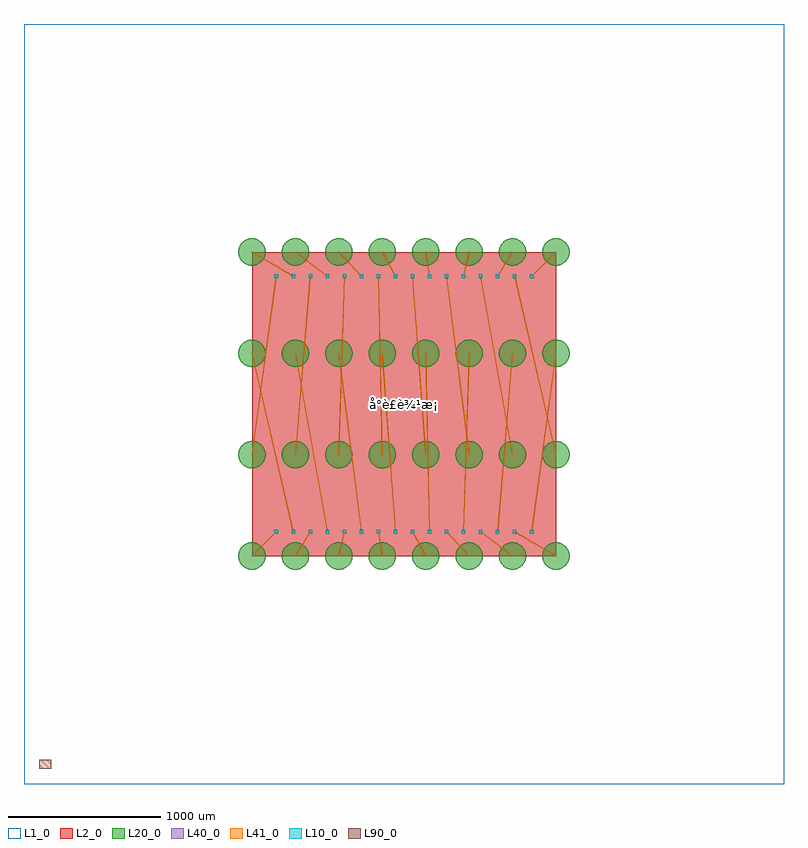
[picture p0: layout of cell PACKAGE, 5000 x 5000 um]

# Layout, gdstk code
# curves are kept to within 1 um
import gdstk
lib = gdstk.Library(unit=1e-6, precision=1e-09)
def R(c, l, rs):  # rectangles x0, y0, x1, y1
    for r in rs: c.add(gdstk.rectangle(r[:2], r[2:], *l))
def A(c, l, x, y, w, h, nx, ny, dx, dy):  # array of equal rectangles
    R(c, l, [(x+i*dx, y+j*dy, x+i*dx+w, y+j*dy+h) for i in range(nx) for j in range(ny)])
def P(c, l, *ps):  # polygons
    for p in ps: c.add(gdstk.Polygon(p, *l))
L1_0 = (1, 0)
L2_0 = (2, 0)
L10_0 = (10, 0)
L20_0 = (20, 0)
L40_0 = (40, 0)
L41_0 = (41, 0)
L90_0 = (90, 0)

die = lib.new_cell('DIE')
R(die, L2_0, [(-1000,-1000,1000,1000)])
A(die, L10_0, -852, -852, 24, 24, 16, 2, 112, 1680)
P(die, L40_0, [(-838.232,-841.768),(-841.768,-838.232),(-1001.768,-998.232),(-998.232,-1001.768)],
  [(-837.523,839.662),(-842.477,840.338),(-1002.477,-332.996),(-997.523,-333.671)],
  [(-730.435,-840.565),(-725.565,-839.435),(-997.565,333.898),(-1002.435,332.769)],
  [(-729.268,837.845),(-726.732,842.155),(-998.732,1002.155),(-1001.268,997.845)],
  [(-613.87,-841.309),(-618.13,-838.691),(-716.416,-998.691),(-712.156,-1001.309)],
  [(-613.509,839.791),(-618.491,840.209),(-716.777,-333.125),(-711.794,-333.542)],
  [(-506.461,-840.441),(-501.539,-839.559),(-711.825,333.774),(-716.747,332.892)],
  [(-505.514,838.01),(-502.486,841.99),(-712.772,1001.99),(-715.8,998.01)],
  [(-389.563,-840.557),(-394.437,-839.443),(-431.009,-999.443),(-426.134,-1000.557)],
  [(-389.501,839.922),(-394.499,840.078),(-431.07,-333.255),(-426.073,-333.411)],
  [(-282.48,-840.314),(-277.52,-839.686),(-426.091,333.647),(-431.052,333.019)],
  [(-281.832,838.299),(-278.168,841.701),(-426.739,1001.701),(-430.403,998.299)],
  [(-165.53,-839.612),(-170.47,-840.388),(-145.327,-1000.388),(-140.387,-999.612)],
  [(-165.501,840.054),(-170.499,839.946),(-145.357,-333.387),(-140.358,-333.28)],
  [(-58.493,-840.185),(-53.507,-839.815),(-140.364,333.518),(-145.35,333.149)],
  [(-58.197,838.807),(-53.803,841.193),(-140.66,1001.193),(-145.054,998.807)],
  [(58.197,-838.807),(53.803,-841.193),(140.66,-1001.193),(145.054,-998.807)],
  [(58.493,840.185),(53.507,839.815),(140.364,-333.518),(145.35,-333.149)],
  [(165.501,-840.054),(170.499,-839.946),(145.357,333.387),(140.358,333.28)],
  [(165.53,839.612),(170.47,840.388),(145.327,1000.388),(140.387,999.612)],
  [(281.832,-838.299),(278.168,-841.701),(426.739,-1001.701),(430.403,-998.299)],
  [(282.48,840.314),(277.52,839.686),(426.091,-333.647),(431.052,-333.019)],
  [(389.501,-839.922),(394.499,-840.078),(431.07,333.255),(426.073,333.411)],
  [(389.563,840.557),(394.437,839.443),(431.009,999.443),(426.134,1000.557)],
  [(505.514,-838.01),(502.486,-841.99),(712.772,-1001.99),(715.8,-998.01)],
  [(506.461,840.441),(501.539,839.559),(711.825,-333.774),(716.747,-332.892)],
  [(613.509,-839.791),(618.491,-840.209),(716.777,333.125),(711.794,333.542)],
  [(613.87,841.309),(618.13,838.691),(716.416,998.691),(712.156,1001.309)],
  [(729.268,-837.845),(726.732,-842.155),(998.732,-1002.155),(1001.268,-997.845)],
  [(730.435,840.565),(725.565,839.435),(997.565,-333.898),(1002.435,-332.769)],
  [(837.523,-839.662),(842.477,-840.338),(1002.477,332.996),(997.523,333.671)],
  [(838.232,841.768),(841.768,838.232),(1001.768,998.232),(998.232,1001.768)])
P(die, L41_0, [(-838.232,-841.768),(-841.768,-838.232),(-1001.768,-998.232),(-998.232,-1001.768)],
  [(-837.523,839.662),(-842.477,840.338),(-1002.477,-332.996),(-997.523,-333.671)],
  [(-730.435,-840.565),(-725.565,-839.435),(-997.565,333.898),(-1002.435,332.769)],
  [(-729.268,837.845),(-726.732,842.155),(-998.732,1002.155),(-1001.268,997.845)],
  [(-613.87,-841.309),(-618.13,-838.691),(-716.416,-998.691),(-712.156,-1001.309)],
  [(-613.509,839.791),(-618.491,840.209),(-716.777,-333.125),(-711.794,-333.542)],
  [(-506.461,-840.441),(-501.539,-839.559),(-711.825,333.774),(-716.747,332.892)],
  [(-505.514,838.01),(-502.486,841.99),(-712.772,1001.99),(-715.8,998.01)],
  [(-389.563,-840.557),(-394.437,-839.443),(-431.009,-999.443),(-426.134,-1000.557)],
  [(-389.501,839.922),(-394.499,840.078),(-431.07,-333.255),(-426.073,-333.411)],
  [(-282.48,-840.314),(-277.52,-839.686),(-426.091,333.647),(-431.052,333.019)],
  [(-281.832,838.299),(-278.168,841.701),(-426.739,1001.701),(-430.403,998.299)],
  [(-165.53,-839.612),(-170.47,-840.388),(-145.327,-1000.388),(-140.387,-999.612)],
  [(-165.501,840.054),(-170.499,839.946),(-145.357,-333.387),(-140.358,-333.28)],
  [(-58.493,-840.185),(-53.507,-839.815),(-140.364,333.518),(-145.35,333.149)],
  [(-58.197,838.807),(-53.803,841.193),(-140.66,1001.193),(-145.054,998.807)],
  [(58.197,-838.807),(53.803,-841.193),(140.66,-1001.193),(145.054,-998.807)],
  [(58.493,840.185),(53.507,839.815),(140.364,-333.518),(145.35,-333.149)],
  [(165.501,-840.054),(170.499,-839.946),(145.357,333.387),(140.358,333.28)],
  [(165.53,839.612),(170.47,840.388),(145.327,1000.388),(140.387,999.612)],
  [(281.832,-838.299),(278.168,-841.701),(426.739,-1001.701),(430.403,-998.299)],
  [(282.48,840.314),(277.52,839.686),(426.091,-333.647),(431.052,-333.019)],
  [(389.501,-839.922),(394.499,-840.078),(431.07,333.255),(426.073,333.411)],
  [(389.563,840.557),(394.437,839.443),(431.009,999.443),(426.134,1000.557)],
  [(505.514,-838.01),(502.486,-841.99),(712.772,-1001.99),(715.8,-998.01)],
  [(506.461,840.441),(501.539,839.559),(711.825,-333.774),(716.747,-332.892)],
  [(613.509,-839.791),(618.491,-840.209),(716.777,333.125),(711.794,333.542)],
  [(613.87,841.309),(618.13,838.691),(716.416,998.691),(712.156,1001.309)],
  [(729.268,-837.845),(726.732,-842.155),(998.732,-1002.155),(1001.268,-997.845)],
  [(730.435,840.565),(725.565,839.435),(997.565,-333.898),(1002.435,-332.769)],
  [(837.523,-839.662),(842.477,-840.338),(1002.477,332.996),(997.523,333.671)],
  [(838.232,841.768),(841.768,838.232),(1001.768,998.232),(998.232,1001.768)])

package = lib.new_cell('PACKAGE')
R(package, L1_0, [(-2500,-2500,2500,2500)])
P(package, L20_0, [(-910,-1000),(-911.766,-982.259),(-916.994,-965.215),(-925.479,-949.536),(-936.889,-935.836),(-950.775,-924.655),(-966.592,-916.43),(-983.721,-911.485),(-1001.488,-910.012),(-1019.197,-912.071),(-1036.153,-917.58),(-1051.69,-926.324),(-1065.198,-937.958),(-1072.812,-947.099),(-1081.811,-962.49),(-1087.599,-979.352),(-1089.951,-997.024),(-1088.773,-1014.814),(-1084.111,-1032.021),(-1076.149,-1047.973),(-1065.198,-1062.042),(-1051.69,-1073.676),(-1036.153,-1082.42),(-1019.197,-1087.929),(-1001.488,-1089.988),(-983.721,-1088.515),(-966.592,-1083.57),(-950.775,-1075.345),(-936.889,-1064.164),(-925.479,-1050.464),(-916.994,-1034.785),(-911.766,-1017.741)],
  [(-910,-333.333),(-911.766,-315.593),(-916.994,-298.548),(-925.479,-282.869),(-936.889,-269.17),(-950.775,-257.988),(-966.592,-249.763),(-983.721,-244.818),(-1001.488,-243.346),(-1019.197,-245.405),(-1036.153,-250.914),(-1051.69,-259.657),(-1065.198,-271.292),(-1076.149,-285.36),(-1084.111,-301.312),(-1088.773,-318.52),(-1089.951,-336.309),(-1087.599,-353.981),(-1081.811,-370.844),(-1072.812,-386.234),(-1060.955,-399.548),(-1046.707,-410.265),(-1030.626,-417.962),(-1013.344,-422.339),(-995.537,-423.223),(-977.906,-420.579),(-961.142,-414.513),(-945.903,-405.26),(-932.786,-393.186),(-922.307,-378.762),(-914.876,-362.556),(-910.786,-345.204)],
  [(-910,333.333),(-910.786,345.204),(-914.876,362.556),(-922.307,378.762),(-932.786,393.186),(-945.903,405.26),(-961.142,414.513),(-977.906,420.579),(-995.537,423.223),(-1013.344,422.339),(-1030.626,417.962),(-1046.707,410.265),(-1060.955,399.548),(-1072.812,386.234),(-1081.811,370.844),(-1087.599,353.981),(-1089.951,336.309),(-1088.773,318.52),(-1084.111,301.312),(-1076.149,285.36),(-1065.198,271.292),(-1051.69,259.657),(-1036.153,250.914),(-1019.197,245.405),(-1001.488,243.346),(-983.721,244.818),(-966.592,249.763),(-950.775,257.988),(-936.889,269.17),(-925.479,282.869),(-916.994,298.548),(-911.766,315.593)],
  [(-910,1000),(-911.766,1017.741),(-916.994,1034.785),(-925.479,1050.464),(-936.889,1064.164),(-950.775,1075.345),(-966.592,1083.57),(-983.721,1088.515),(-1001.488,1089.988),(-1019.197,1087.929),(-1036.153,1082.42),(-1051.69,1073.676),(-1065.198,1062.042),(-1072.812,1052.901),(-1081.811,1037.51),(-1087.599,1020.648),(-1089.951,1002.976),(-1088.773,985.186),(-1084.111,967.979),(-1076.149,952.027),(-1065.198,937.958),(-1051.69,926.324),(-1036.153,917.58),(-1019.197,912.071),(-1001.488,910.012),(-983.721,911.485),(-966.592,916.43),(-950.775,924.655),(-936.889,935.836),(-925.479,949.536),(-916.994,965.215),(-911.766,982.259)],
  [(-624.286,-1000),(-626.052,-982.259),(-631.28,-965.215),(-639.765,-949.536),(-651.174,-935.836),(-665.06,-924.655),(-680.878,-916.43),(-698.006,-911.485),(-715.774,-910.012),(-733.483,-912.071),(-750.438,-917.58),(-765.975,-926.324),(-779.484,-937.958),(-790.434,-952.027),(-798.397,-967.979),(-801.885,-979.352),(-804.237,-997.024),(-803.058,-1014.814),(-798.397,-1032.021),(-790.434,-1047.973),(-779.484,-1062.042),(-765.975,-1073.676),(-750.438,-1082.42),(-733.483,-1087.929),(-715.774,-1089.988),(-698.006,-1088.515),(-680.878,-1083.57),(-665.06,-1075.345),(-651.174,-1064.164),(-639.765,-1050.464),(-631.28,-1034.785),(-626.052,-1017.741)],
  [(-624.286,-333.333),(-626.052,-315.593),(-631.28,-298.548),(-639.765,-282.869),(-651.174,-269.17),(-665.06,-257.988),(-680.878,-249.763),(-698.006,-244.818),(-715.774,-243.346),(-733.483,-245.405),(-750.438,-250.914),(-765.975,-259.657),(-779.484,-271.292),(-790.434,-285.36),(-798.397,-301.312),(-803.058,-318.52),(-804.237,-336.309),(-801.885,-353.981),(-796.096,-370.844),(-787.097,-386.234),(-775.241,-399.548),(-760.993,-410.265),(-744.912,-417.962),(-727.629,-422.339),(-709.823,-423.223),(-692.192,-420.579),(-675.428,-414.513),(-660.188,-405.26),(-651.174,-397.497),(-639.765,-383.798),(-631.28,-368.118),(-626.052,-351.074)],
  [(-624.286,333.333),(-626.052,351.074),(-631.28,368.118),(-639.765,383.798),(-651.174,397.497),(-660.188,405.26),(-675.428,414.513),(-692.192,420.579),(-709.823,423.223),(-727.629,422.339),(-744.912,417.962),(-760.993,410.265),(-775.241,399.548),(-787.097,386.234),(-796.096,370.844),(-801.885,353.981),(-804.237,336.309),(-803.058,318.52),(-798.397,301.312),(-790.434,285.36),(-779.484,271.292),(-765.975,259.657),(-750.438,250.914),(-733.483,245.405),(-715.774,243.346),(-698.006,244.818),(-680.878,249.763),(-665.06,257.988),(-651.174,269.17),(-639.765,282.869),(-631.28,298.548),(-626.052,315.593)],
  [(-624.286,1000),(-626.052,1017.741),(-631.28,1034.785),(-639.765,1050.464),(-651.174,1064.164),(-665.06,1075.345),(-680.878,1083.57),(-698.006,1088.515),(-715.774,1089.988),(-733.483,1087.929),(-750.438,1082.42),(-765.975,1073.676),(-779.484,1062.042),(-790.434,1047.973),(-798.397,1032.021),(-801.885,1020.648),(-804.237,1002.976),(-803.058,985.186),(-798.397,967.979),(-790.434,952.027),(-779.484,937.958),(-765.975,926.324),(-750.438,917.58),(-733.483,912.071),(-715.774,910.012),(-698.006,911.485),(-680.878,916.43),(-665.06,924.655),(-651.174,935.836),(-639.765,949.536),(-631.28,965.215),(-626.052,982.259)],
  [(-338.571,-1000),(-340.337,-982.259),(-345.565,-965.215),(-354.051,-949.536),(-365.46,-935.836),(-379.346,-924.655),(-395.164,-916.43),(-412.292,-911.485),(-430.059,-910.012),(-447.768,-912.071),(-464.724,-917.58),(-480.261,-926.324),(-493.77,-937.958),(-501.383,-947.099),(-510.382,-962.49),(-516.171,-979.352),(-518.522,-997.024),(-517.344,-1014.814),(-512.682,-1032.021),(-504.72,-1047.973),(-493.77,-1062.042),(-480.261,-1073.676),(-464.724,-1082.42),(-447.768,-1087.929),(-430.059,-1089.988),(-412.292,-1088.515),(-395.164,-1083.57),(-379.346,-1075.345),(-365.46,-1064.164),(-354.051,-1050.464),(-345.565,-1034.785),(-340.337,-1017.741)],
  [(-338.571,-333.333),(-340.337,-315.593),(-345.565,-298.548),(-354.051,-282.869),(-365.46,-269.17),(-379.346,-257.988),(-395.164,-249.763),(-412.292,-244.818),(-430.059,-243.346),(-447.768,-245.405),(-464.724,-250.914),(-480.261,-259.657),(-493.77,-271.292),(-504.72,-285.36),(-512.682,-301.312),(-517.344,-318.52),(-518.522,-336.309),(-516.171,-353.981),(-510.382,-370.844),(-501.383,-386.234),(-489.527,-399.548),(-475.279,-410.265),(-459.198,-417.962),(-441.915,-422.339),(-424.109,-423.223),(-406.478,-420.579),(-389.714,-414.513),(-374.474,-405.26),(-361.357,-393.186),(-350.878,-378.762),(-345.565,-368.118),(-340.337,-351.074)],
  [(-338.571,333.333),(-340.337,351.074),(-345.565,368.118),(-350.878,378.762),(-361.357,393.186),(-374.474,405.26),(-389.714,414.513),(-406.478,420.579),(-424.109,423.223),(-441.915,422.339),(-459.198,417.962),(-475.279,410.265),(-489.527,399.548),(-501.383,386.234),(-510.382,370.844),(-516.171,353.981),(-518.522,336.309),(-517.344,318.52),(-512.682,301.312),(-504.72,285.36),(-493.77,271.292),(-480.261,259.657),(-464.724,250.914),(-447.768,245.405),(-430.059,243.346),(-412.292,244.818),(-395.164,249.763),(-379.346,257.988),(-365.46,269.17),(-354.051,282.869),(-345.565,298.548),(-340.337,315.593)],
  [(-338.571,1000),(-340.337,1017.741),(-345.565,1034.785),(-354.051,1050.464),(-365.46,1064.164),(-379.346,1075.345),(-395.164,1083.57),(-412.292,1088.515),(-430.059,1089.988),(-447.768,1087.929),(-464.724,1082.42),(-480.261,1073.676),(-493.77,1062.042),(-501.383,1052.901),(-510.382,1037.51),(-516.171,1020.648),(-518.522,1002.976),(-517.344,985.186),(-512.682,967.979),(-504.72,952.027),(-493.77,937.958),(-480.261,926.324),(-464.724,917.58),(-447.768,912.071),(-430.059,910.012),(-412.292,911.485),(-395.164,916.43),(-379.346,924.655),(-365.46,935.836),(-354.051,949.536),(-345.565,965.215),(-340.337,982.259)],
  [(-52.857,-1000),(-54.623,-982.259),(-59.851,-965.215),(-68.336,-949.536),(-79.746,-935.836),(-93.632,-924.655),(-109.449,-916.43),(-126.578,-911.485),(-144.345,-910.012),(-162.054,-912.071),(-179.01,-917.58),(-194.547,-926.324),(-208.055,-937.958),(-215.669,-947.099),(-224.668,-962.49),(-230.457,-979.352),(-232.808,-997.024),(-231.63,-1014.814),(-226.968,-1032.021),(-219.006,-1047.973),(-208.055,-1062.042),(-194.547,-1073.676),(-179.01,-1082.42),(-162.054,-1087.929),(-144.345,-1089.988),(-126.578,-1088.515),(-109.449,-1083.57),(-93.632,-1075.345),(-79.746,-1064.164),(-68.336,-1050.464),(-59.851,-1034.785),(-54.623,-1017.741)],
  [(-52.857,-333.333),(-54.623,-315.593),(-59.851,-298.548),(-68.336,-282.869),(-79.746,-269.17),(-93.632,-257.988),(-109.449,-249.763),(-126.578,-244.818),(-144.345,-243.346),(-162.054,-245.405),(-179.01,-250.914),(-194.547,-259.657),(-208.055,-271.292),(-219.006,-285.36),(-226.968,-301.312),(-231.63,-318.52),(-232.808,-336.309),(-230.457,-353.981),(-224.668,-370.844),(-215.669,-386.234),(-203.812,-399.548),(-189.564,-410.265),(-173.484,-417.962),(-156.201,-422.339),(-138.395,-423.223),(-120.763,-420.579),(-103.999,-414.513),(-88.76,-405.26),(-75.643,-393.186),(-68.336,-383.798),(-59.851,-368.118),(-54.623,-351.074)],
  [(-52.857,333.333),(-54.623,351.074),(-59.851,368.118),(-68.336,383.798),(-75.643,393.186),(-88.76,405.26),(-103.999,414.513),(-120.763,420.579),(-138.395,423.223),(-156.201,422.339),(-173.484,417.962),(-189.564,410.265),(-203.812,399.548),(-215.669,386.234),(-224.668,370.844),(-230.457,353.981),(-232.808,336.309),(-231.63,318.52),(-226.968,301.312),(-219.006,285.36),(-208.055,271.292),(-194.547,259.657),(-179.01,250.914),(-162.054,245.405),(-144.345,243.346),(-126.578,244.818),(-109.449,249.763),(-93.632,257.988),(-79.746,269.17),(-68.336,282.869),(-59.851,298.548),(-54.623,315.593)],
  [(-52.857,1000),(-54.623,1017.741),(-59.851,1034.785),(-68.336,1050.464),(-79.746,1064.164),(-93.632,1075.345),(-109.449,1083.57),(-126.578,1088.515),(-144.345,1089.988),(-162.054,1087.929),(-179.01,1082.42),(-194.547,1073.676),(-208.055,1062.042),(-215.669,1052.901),(-224.668,1037.51),(-230.457,1020.648),(-232.808,1002.976),(-231.63,985.186),(-226.968,967.979),(-219.006,952.027),(-208.055,937.958),(-194.547,926.324),(-179.01,917.58),(-162.054,912.071),(-144.345,910.012),(-126.578,911.485),(-109.449,916.43),(-93.632,924.655),(-79.746,935.836),(-68.336,949.536),(-59.851,965.215),(-54.623,982.259)],
  [(232.857,-1000),(231.091,-982.259),(225.863,-965.215),(217.378,-949.536),(205.968,-935.836),(192.082,-924.655),(176.265,-916.43),(159.136,-911.485),(141.369,-910.012),(123.66,-912.071),(106.705,-917.58),(91.168,-926.324),(77.659,-937.958),(66.709,-952.027),(58.746,-967.979),(55.258,-979.352),(52.906,-997.024),(54.085,-1014.814),(58.746,-1032.021),(66.709,-1047.973),(77.659,-1062.042),(91.168,-1073.676),(106.705,-1082.42),(123.66,-1087.929),(141.369,-1089.988),(159.136,-1088.515),(176.265,-1083.57),(192.082,-1075.345),(205.968,-1064.164),(217.378,-1050.464),(225.863,-1034.785),(231.091,-1017.741)],
  [(232.857,-333.333),(231.091,-315.593),(225.863,-298.548),(217.378,-282.869),(205.968,-269.17),(192.082,-257.988),(176.265,-249.763),(159.136,-244.818),(141.369,-243.346),(123.66,-245.405),(106.705,-250.914),(91.168,-259.657),(77.659,-271.292),(66.709,-285.36),(58.746,-301.312),(54.085,-318.52),(52.906,-336.309),(55.258,-353.981),(61.047,-370.844),(70.046,-386.234),(81.902,-399.548),(96.15,-410.265),(112.231,-417.962),(129.513,-422.339),(147.32,-423.223),(164.951,-420.579),(181.715,-414.513),(196.954,-405.26),(210.071,-393.186),(220.55,-378.762),(227.981,-362.556),(232.071,-345.204)],
  [(232.857,333.333),(232.071,345.204),(227.981,362.556),(220.55,378.762),(210.071,393.186),(196.954,405.26),(181.715,414.513),(164.951,420.579),(147.32,423.223),(129.513,422.339),(112.231,417.962),(96.15,410.265),(81.902,399.548),(70.046,386.234),(61.047,370.844),(55.258,353.981),(52.906,336.309),(54.085,318.52),(58.746,301.312),(66.709,285.36),(77.659,271.292),(91.168,259.657),(106.705,250.914),(123.66,245.405),(141.369,243.346),(159.136,244.818),(176.265,249.763),(192.082,257.988),(205.968,269.17),(217.378,282.869),(225.863,298.548),(231.091,315.593)],
  [(232.857,1000),(231.091,1017.741),(225.863,1034.785),(217.378,1050.464),(205.968,1064.164),(192.082,1075.345),(176.265,1083.57),(159.136,1088.515),(141.369,1089.988),(123.66,1087.929),(106.705,1082.42),(91.168,1073.676),(77.659,1062.042),(66.709,1047.973),(58.746,1032.021),(55.258,1020.648),(52.906,1002.976),(54.085,985.186),(58.746,967.979),(66.709,952.027),(77.659,937.958),(91.168,926.324),(106.705,917.58),(123.66,912.071),(141.369,910.012),(159.136,911.485),(176.265,916.43),(192.082,924.655),(205.968,935.836),(217.378,949.536),(225.863,965.215),(231.091,982.259)],
  [(518.571,-1000),(516.806,-982.259),(511.578,-965.215),(503.092,-949.536),(491.683,-935.836),(477.797,-924.655),(461.979,-916.43),(444.851,-911.485),(427.083,-910.012),(409.374,-912.071),(392.419,-917.58),(376.882,-926.324),(363.373,-937.958),(355.76,-947.099),(346.761,-962.49),(340.972,-979.352),(338.621,-997.024),(339.799,-1014.814),(344.461,-1032.021),(352.423,-1047.973),(363.373,-1062.042),(376.882,-1073.676),(392.419,-1082.42),(409.374,-1087.929),(427.083,-1089.988),(444.851,-1088.515),(461.979,-1083.57),(477.797,-1075.345),(491.683,-1064.164),(503.092,-1050.464),(511.578,-1034.785),(516.806,-1017.741)],
  [(518.571,-333.333),(516.806,-315.593),(511.578,-298.548),(503.092,-282.869),(491.683,-269.17),(477.797,-257.988),(461.979,-249.763),(444.851,-244.818),(427.083,-243.346),(409.374,-245.405),(392.419,-250.914),(376.882,-259.657),(363.373,-271.292),(352.423,-285.36),(344.461,-301.312),(339.799,-318.52),(338.621,-336.309),(340.972,-353.981),(346.761,-370.844),(355.76,-386.234),(367.616,-399.548),(381.864,-410.265),(397.945,-417.962),(415.228,-422.339),(433.034,-423.223),(450.665,-420.579),(467.429,-414.513),(482.669,-405.26),(491.683,-397.497),(503.092,-383.798),(511.578,-368.118),(516.806,-351.074)],
  [(518.571,333.333),(516.806,351.074),(511.578,368.118),(503.092,383.798),(491.683,397.497),(482.669,405.26),(467.429,414.513),(450.665,420.579),(433.034,423.223),(415.228,422.339),(397.945,417.962),(381.864,410.265),(367.616,399.548),(355.76,386.234),(346.761,370.844),(340.972,353.981),(338.621,336.309),(339.799,318.52),(344.461,301.312),(352.423,285.36),(363.373,271.292),(376.882,259.657),(392.419,250.914),(409.374,245.405),(427.083,243.346),(444.851,244.818),(461.979,249.763),(477.797,257.988),(491.683,269.17),(503.092,282.869),(511.578,298.548),(516.806,315.593)],
  [(518.571,1000),(516.806,1017.741),(511.578,1034.785),(503.092,1050.464),(491.683,1064.164),(477.797,1075.345),(461.979,1083.57),(444.851,1088.515),(427.083,1089.988),(409.374,1087.929),(392.419,1082.42),(376.882,1073.676),(363.373,1062.042),(355.76,1052.901),(346.761,1037.51),(340.972,1020.648),(338.621,1002.976),(339.799,985.186),(344.461,967.979),(352.423,952.027),(363.373,937.958),(376.882,926.324),(392.419,917.58),(409.374,912.071),(427.083,910.012),(444.851,911.485),(461.979,916.43),(477.797,924.655),(491.683,935.836),(503.092,949.536),(511.578,965.215),(516.806,982.259)],
  [(804.286,-1000),(802.52,-982.259),(797.292,-965.215),(788.807,-949.536),(777.397,-935.836),(763.511,-924.655),(747.693,-916.43),(730.565,-911.485),(712.798,-910.012),(695.089,-912.071),(678.133,-917.58),(662.596,-926.324),(649.087,-937.958),(641.474,-947.099),(632.475,-962.49),(626.686,-979.352),(624.335,-997.024),(625.513,-1014.814),(630.175,-1032.021),(638.137,-1047.973),(649.087,-1062.042),(662.596,-1073.676),(678.133,-1082.42),(695.089,-1087.929),(712.798,-1089.988),(730.565,-1088.515),(747.693,-1083.57),(763.511,-1075.345),(777.397,-1064.164),(788.807,-1050.464),(797.292,-1034.785),(802.52,-1017.741)],
  [(804.286,-333.333),(802.52,-315.593),(797.292,-298.548),(788.807,-282.869),(777.397,-269.17),(763.511,-257.988),(747.693,-249.763),(730.565,-244.818),(712.798,-243.346),(695.089,-245.405),(678.133,-250.914),(662.596,-259.657),(649.087,-271.292),(638.137,-285.36),(630.175,-301.312),(625.513,-318.52),(624.335,-336.309),(626.686,-353.981),(632.475,-370.844),(641.474,-386.234),(653.33,-399.548),(667.578,-410.265),(683.659,-417.962),(700.942,-422.339),(718.748,-423.223),(736.379,-420.579),(753.144,-414.513),(768.383,-405.26),(781.5,-393.186),(788.807,-383.798),(797.292,-368.118),(802.52,-351.074)],
  [(804.286,333.333),(802.52,351.074),(797.292,368.118),(788.807,383.798),(781.5,393.186),(768.383,405.26),(753.144,414.513),(736.379,420.579),(718.748,423.223),(700.942,422.339),(683.659,417.962),(667.578,410.265),(653.33,399.548),(641.474,386.234),(632.475,370.844),(626.686,353.981),(624.335,336.309),(625.513,318.52),(630.175,301.312),(638.137,285.36),(649.087,271.292),(662.596,259.657),(678.133,250.914),(695.089,245.405),(712.798,243.346),(730.565,244.818),(747.693,249.763),(763.511,257.988),(777.397,269.17),(788.807,282.869),(797.292,298.548),(802.52,315.593)],
  [(804.286,1000),(802.52,1017.741),(797.292,1034.785),(788.807,1050.464),(777.397,1064.164),(763.511,1075.345),(747.693,1083.57),(730.565,1088.515),(712.798,1089.988),(695.089,1087.929),(678.133,1082.42),(662.596,1073.676),(649.087,1062.042),(641.474,1052.901),(632.475,1037.51),(626.686,1020.648),(624.335,1002.976),(625.513,985.186),(630.175,967.979),(638.137,952.027),(649.087,937.958),(662.596,926.324),(678.133,917.58),(695.089,912.071),(712.798,910.012),(730.565,911.485),(747.693,916.43),(763.511,924.655),(777.397,935.836),(788.807,949.536),(797.292,965.215),(802.52,982.259)],
  [(1090,-1000),(1088.234,-982.259),(1083.006,-965.215),(1074.521,-949.536),(1063.111,-935.836),(1049.225,-924.655),(1033.408,-916.43),(1016.279,-911.485),(998.512,-910.012),(980.803,-912.071),(963.847,-917.58),(948.31,-926.324),(934.802,-937.958),(927.188,-947.099),(918.189,-962.49),(912.401,-979.352),(910.049,-997.024),(911.227,-1014.814),(915.889,-1032.021),(923.851,-1047.973),(934.802,-1062.042),(948.31,-1073.676),(963.847,-1082.42),(980.803,-1087.929),(998.512,-1089.988),(1016.279,-1088.515),(1033.408,-1083.57),(1049.225,-1075.345),(1063.111,-1064.164),(1074.521,-1050.464),(1083.006,-1034.785),(1088.234,-1017.741)],
  [(1090,-333.333),(1088.234,-315.593),(1083.006,-298.548),(1074.521,-282.869),(1063.111,-269.17),(1049.225,-257.988),(1033.408,-249.763),(1016.279,-244.818),(998.512,-243.346),(980.803,-245.405),(963.847,-250.914),(948.31,-259.657),(934.802,-271.292),(923.851,-285.36),(915.889,-301.312),(911.227,-318.52),(910.049,-336.309),(912.401,-353.981),(918.189,-370.844),(927.188,-386.234),(939.045,-399.548),(953.293,-410.265),(969.374,-417.962),(986.656,-422.339),(1004.463,-423.223),(1022.094,-420.579),(1038.858,-414.513),(1054.097,-405.26),(1067.214,-393.186),(1077.693,-378.762),(1085.124,-362.556),(1089.214,-345.204)],
  [(1090,333.333),(1089.214,345.204),(1085.124,362.556),(1077.693,378.762),(1067.214,393.186),(1054.097,405.26),(1038.858,414.513),(1022.094,420.579),(1004.463,423.223),(986.656,422.339),(969.374,417.962),(953.293,410.265),(939.045,399.548),(927.188,386.234),(918.189,370.844),(912.401,353.981),(910.049,336.309),(911.227,318.52),(915.889,301.312),(923.851,285.36),(934.802,271.292),(948.31,259.657),(963.847,250.914),(980.803,245.405),(998.512,243.346),(1016.279,244.818),(1033.408,249.763),(1049.225,257.988),(1063.111,269.17),(1074.521,282.869),(1083.006,298.548),(1088.234,315.593)],
  [(1090,1000),(1088.234,1017.741),(1083.006,1034.785),(1074.521,1050.464),(1063.111,1064.164),(1049.225,1075.345),(1033.408,1083.57),(1016.279,1088.515),(998.512,1089.988),(980.803,1087.929),(963.847,1082.42),(948.31,1073.676),(934.802,1062.042),(927.188,1052.901),(918.189,1037.51),(912.401,1020.648),(910.049,1002.976),(911.227,985.186),(915.889,967.979),(923.851,952.027),(934.802,937.958),(948.31,926.324),(963.847,917.58),(980.803,912.071),(998.512,910.012),(1016.279,911.485),(1033.408,916.43),(1049.225,924.655),(1063.111,935.836),(1074.521,949.536),(1083.006,965.215),(1088.234,982.259)])
R(package, L90_0, [(-2400,-2400,-2320,-2340)])
package.add(gdstk.Reference(die, (0,0)))
package.add(gdstk.Label('å°\x81è£\x85è¾¹æ¡\x86', (0,0), layer=1, texttype=0))
package.add(gdstk.Label('è\x8a¯ç\x89\x87è¾¹æ¡\x86', (0,0), layer=2, texttype=0))
package.add(gdstk.Label('è¿\x90å\x8a¨è¿\x87å\xad\x94', (0,0), layer=10, texttype=0))
package.add(gdstk.Label('å\x9bºå®\x9aè¿\x87å\xad\x94', (0,0), layer=20, texttype=0))
package.add(gdstk.Label('æ\x9d¿æ®µRDL', (0,0), layer=40, texttype=0))
package.add(gdstk.Label('æ\x9d¿æ®µRDL', (0,0), layer=41, texttype=0))

lib.write_gds('PACKAGE.gds')
